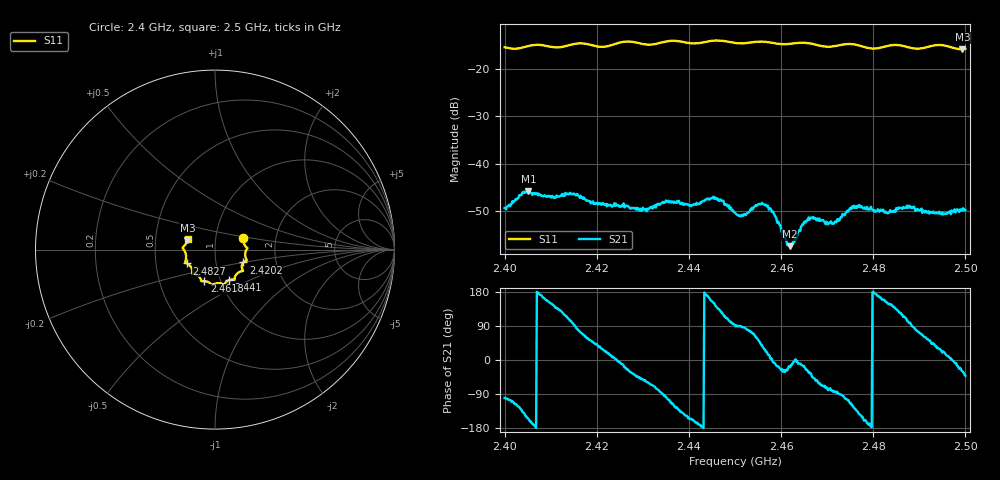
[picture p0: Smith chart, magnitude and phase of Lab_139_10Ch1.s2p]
# Hz S RI R 50
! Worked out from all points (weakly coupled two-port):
!   601 points, 2.4 GHz to 2.5 GHz, reference 50 ohm
!   highest |S21| = -45.81 dB at 2.4052 GHz (marker M1); lowest = -57.4 dB at 2.4618 GHz (marker M2)
!   lowest |S11| = -15.8 dB at 2.4993 GHz (marker M3), VSWR 1.39, Z = 36.5 + j3.84 ohm
!   |S11| at or under -10 dB: start of sweep to end of sweep
!   S12 and S22 are empty: the file has one direction only
!   S11 on the Smith chart (normalised r, x): 2.4 GHz: 1.36, +0.18; 2.4202 GHz: 1.36, -0.20; 2.441 GHz: 1.10, -0.39; 2.4618 GHz: 0.84, -0.30; 2.4827 GHz: 0.72, -0.11; 2.5 GHz: 0.73, +0.09
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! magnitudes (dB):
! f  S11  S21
! 2.4 GHz  -15.4  -49.4
! 2.4052 GHz  -15.1  -45.8
! 2.4167 GHz  -14.5  -47.2
! 2.4202 GHz  -15.2  -48.2
! 2.4293 GHz  -14.5  -50.0
! 2.4333 GHz  -14.5  -48.4
! 2.441 GHz  -14.6  -48.7
! 2.4455 GHz  -14.0  -47.4
! 2.45 GHz  -14.4  -50.4
! 2.4567 GHz  -14.2  -48.6
! 2.4583 GHz  -14.5  -50.3
! 2.4618 GHz  -14.6  -57.4
! 2.4648 GHz  -14.4  -52.8
! 2.4667 GHz  -14.6  -51.5
! 2.4715 GHz  -15.2  -52.5
! 2.4768 GHz  -15.0  -49.1
! 2.4827 GHz  -15.2  -50.1
! 2.4833 GHz  -15.0  -50.4
! 2.4877 GHz  -15.4  -49.3
! 2.4953 GHz  -15.0  -50.6
! 2.4993 GHz  -15.8  -49.9
! 2.5 GHz  -15.7  -49.8
